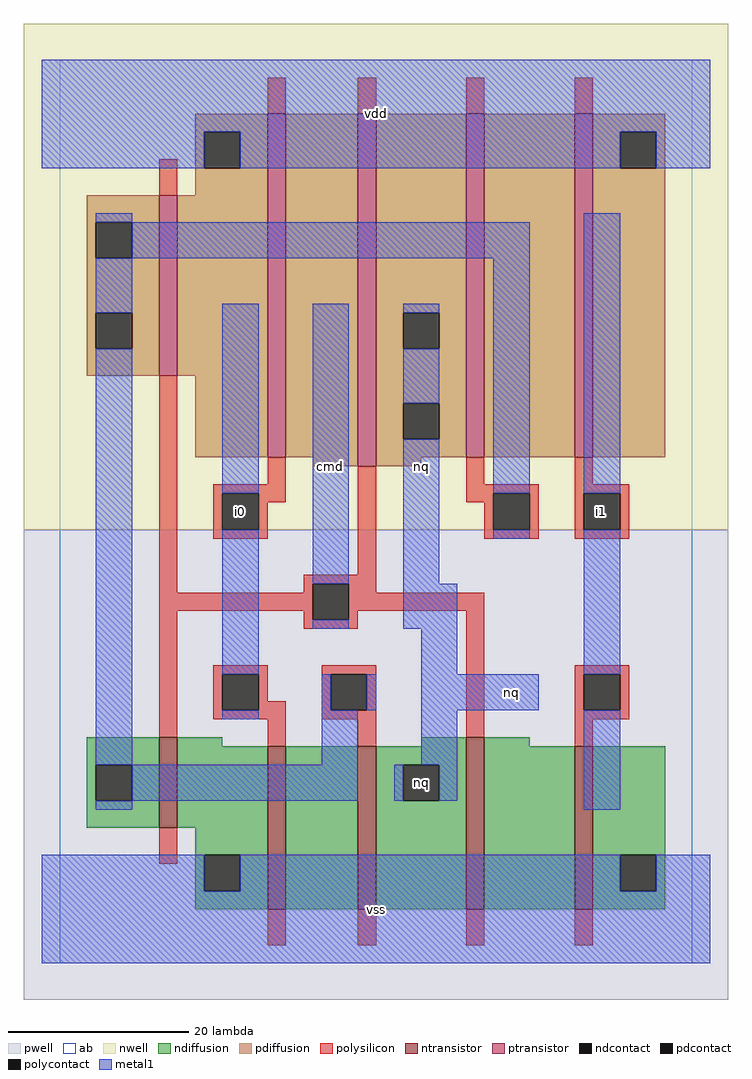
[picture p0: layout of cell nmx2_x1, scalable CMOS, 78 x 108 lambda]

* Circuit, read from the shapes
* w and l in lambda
.subckt nmx2_x1 cmd i0 i1 nq vdd vss
M1 vss cmd n1 VSUBS nfet w=10 l=2
M2 n2 i0 vss VSUBS nfet w=18 l=2
M3 nq n1 n2 VSUBS nfet w=18 l=2
M4 n3 cmd nq VSUBS nfet w=19 l=2
M5 vss i1 n3 VSUBS nfet w=18 l=2
M6 vdd cmd n1 n4 pfet w=20 l=2
M7 n5 i0 vdd n4 pfet w=38 l=2
M8 nq cmd n5 n4 pfet w=39 l=2
M9 n6 n1 nq n4 pfet w=38 l=2
M10 vdd i1 n6 n4 pfet w=38 l=2
.ends

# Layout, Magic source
magic
tech scmos
<< ab >>
rect 0 0 70 100
<< pwell >>
rect -4 -4 74 48
<< nwell >>
rect -4 48 74 104
<< polysilicon >>
rect 23 94 25 98
rect 33 94 35 98
rect 45 94 47 98
rect 57 94 59 98
rect 11 85 13 89
rect 11 41 13 65
rect 23 53 25 56
rect 17 52 25 53
rect 17 48 18 52
rect 22 51 25 52
rect 22 48 23 51
rect 17 47 23 48
rect 33 43 35 55
rect 45 53 47 56
rect 57 53 59 56
rect 45 52 53 53
rect 45 51 48 52
rect 47 48 48 51
rect 52 48 53 52
rect 47 47 53 48
rect 57 52 63 53
rect 57 48 58 52
rect 62 48 63 52
rect 57 47 63 48
rect 27 42 35 43
rect 27 41 28 42
rect 11 39 28 41
rect 11 25 13 39
rect 27 38 28 39
rect 32 41 35 42
rect 32 39 47 41
rect 32 38 33 39
rect 27 37 33 38
rect 17 32 23 33
rect 17 28 18 32
rect 22 29 23 32
rect 29 32 35 33
rect 22 28 25 29
rect 17 27 25 28
rect 29 28 30 32
rect 34 28 35 32
rect 29 27 35 28
rect 23 24 25 27
rect 33 24 35 27
rect 45 25 47 39
rect 57 32 63 33
rect 57 28 58 32
rect 62 28 63 32
rect 57 27 63 28
rect 11 11 13 15
rect 57 24 59 27
rect 23 2 25 6
rect 33 2 35 6
rect 45 2 47 6
rect 57 2 59 6
<< ndiffusion >>
rect 3 22 11 25
rect 3 18 4 22
rect 8 18 11 22
rect 3 15 11 18
rect 13 24 18 25
rect 40 24 45 25
rect 13 15 23 24
rect 15 12 23 15
rect 15 8 16 12
rect 20 8 23 12
rect 15 6 23 8
rect 25 6 33 24
rect 35 22 45 24
rect 35 18 38 22
rect 42 18 45 22
rect 35 6 45 18
rect 47 24 52 25
rect 47 6 57 24
rect 59 12 67 24
rect 59 8 62 12
rect 66 8 67 12
rect 59 6 67 8
<< pdiffusion >>
rect 15 92 23 94
rect 15 88 16 92
rect 20 88 23 92
rect 15 85 23 88
rect 3 82 11 85
rect 3 78 4 82
rect 8 78 11 82
rect 3 72 11 78
rect 3 68 4 72
rect 8 68 11 72
rect 3 65 11 68
rect 13 65 23 85
rect 15 56 23 65
rect 25 56 33 94
rect 28 55 33 56
rect 35 72 45 94
rect 35 68 38 72
rect 42 68 45 72
rect 35 62 45 68
rect 35 58 38 62
rect 42 58 45 62
rect 35 56 45 58
rect 47 56 57 94
rect 59 92 67 94
rect 59 88 62 92
rect 66 88 67 92
rect 59 56 67 88
rect 35 55 40 56
<< metal1 >>
rect -2 92 72 100
rect -2 88 16 92
rect 20 88 62 92
rect 66 88 72 92
rect 4 82 8 83
rect 8 78 52 82
rect 4 72 8 78
rect 4 22 8 68
rect 18 52 22 73
rect 18 32 22 48
rect 28 42 32 73
rect 28 37 32 38
rect 38 72 42 73
rect 38 62 42 68
rect 38 42 42 58
rect 48 52 52 78
rect 48 47 52 48
rect 58 52 62 83
rect 38 37 44 42
rect 40 32 44 37
rect 58 32 62 48
rect 18 27 22 28
rect 29 28 30 32
rect 34 28 35 32
rect 40 28 53 32
rect 29 22 33 28
rect 40 22 44 28
rect 8 18 33 22
rect 37 18 38 22
rect 42 18 44 22
rect 4 17 8 18
rect 58 17 62 28
rect -2 8 16 12
rect 20 8 62 12
rect 66 8 72 12
rect -2 0 72 8
<< ntransistor >>
rect 11 15 13 25
rect 23 6 25 24
rect 33 6 35 24
rect 45 6 47 25
rect 57 6 59 24
<< ptransistor >>
rect 11 65 13 85
rect 23 56 25 94
rect 33 55 35 94
rect 45 56 47 94
rect 57 56 59 94
<< polycontact >>
rect 18 48 22 52
rect 48 48 52 52
rect 58 48 62 52
rect 28 38 32 42
rect 18 28 22 32
rect 30 28 34 32
rect 58 28 62 32
<< ndcontact >>
rect 4 18 8 22
rect 16 8 20 12
rect 38 18 42 22
rect 62 8 66 12
<< pdcontact >>
rect 16 88 20 92
rect 4 78 8 82
rect 4 68 8 72
rect 38 68 42 72
rect 38 58 42 62
rect 62 88 66 92
<< labels >>
rlabel polycontact 20 50 20 50 6 i0
rlabel metal1 30 55 30 55 6 cmd
rlabel metal1 35 6 35 6 6 vss
rlabel ndcontact 40 20 40 20 6 nq
rlabel metal1 50 30 50 30 6 nq
rlabel metal1 40 55 40 55 6 nq
rlabel metal1 35 94 35 94 6 vdd
rlabel polycontact 60 50 60 50 6 i1
<< end >>
